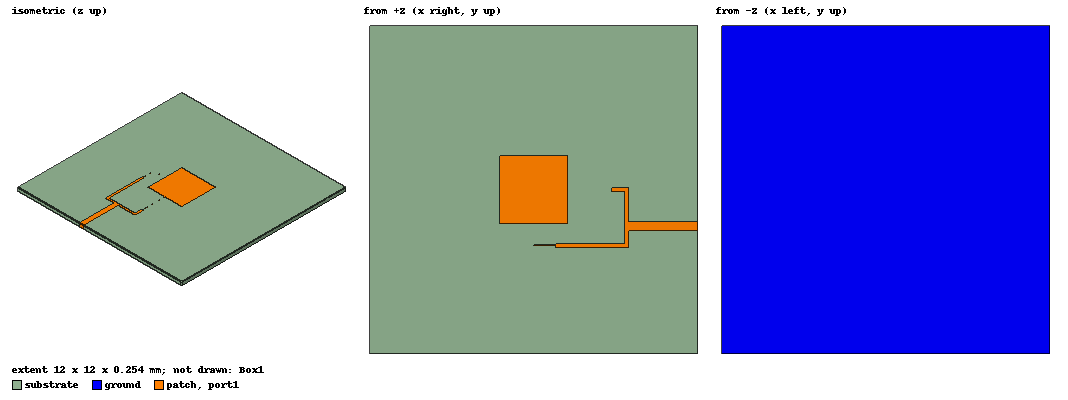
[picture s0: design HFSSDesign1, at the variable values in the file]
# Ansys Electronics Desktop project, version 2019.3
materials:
  vacuum: permittivity=1
  Rogers RO4003 (tm): permittivity=3.55 dielectric_loss_tangent=0.0027
  air: permittivity=1.0006 permeability=1.0000004
  copper: permeability=0.999991 conductivity=58000000
  Rogers RT/duroid 6010/6010LM (tm): permittivity=10.2 dielectric_loss_tangent=0.0023

design HFSSDesign1 (HFSS, DrivenModal, model units mm)
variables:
  ls = 12mm
  ws = 12mm
  hs = 0.254mm
  lp = 2.465mm
  wp = 2.465mm
  w1 = 0.0124mm
  w2 = 0.0124mm
  v = 0.81mm
  w3 = 0.143mm
  L = 0.63622765mm
  w4 = 0.316mm  # optimise 0.9mm..1.2mm
  Lbox = 14mm
  Wbpx = 14mm
  Hbox = 6mm
  Wbox = 14mm
  v1 = 0.81mm
  m = 0mm
  off = -0.1mm  # optimise -0.03mm..0mm
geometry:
  ground = rectangle(corner=(-ls/2, -ws/2, 0mm), x_size=ls, y_size=ws)
  substrate [Rogers RO4003 (tm)] = box(corner=(-ls/2, -ws/2, 0mm), size=(ls, ws, hs))
  patch = rectangle(corner=(-lp/2, -wp/2, hs), x_size=lp, y_size=wp)
  transformer1 = rectangle(corner=(lp/2, -w1/2, hs), x_size=2*v, y_size=w1)
  transformer21 = rectangle(corner=(-w2/2, -wp/2, hs), x_size=w2, y_size=-(v))
  transformer22 = rectangle(corner=(-w2/2, (-wp/2)-(v), hs), x_size=v1, y_size=w2)
  T1 = rectangle(corner=(lp/2+(2*v), -w3/2, hs), x_size=L, y_size=w3)
  T2 = rectangle(corner=(v1-(w2/2), (-wp/2)-(v)-(w3/2)+(w2/2), hs), x_size=(lp/2)+(2*v)+L-(v1-w2/2), y_size=w3)
  T3 = rectangle(corner=((lp/2)+(L)+(2*v), w3/2, hs), x_size=-w3, y_size=-((wp/2)+(v)+w3-(w2/2)))
  feed = rectangle(corner=((L+(2*v)+lp/2), -((wp/2)+(v/2)+(w4/2)-(v/2)+m)+off, hs), x_size=(ls/2)-(L+(2*v)+lp/2), y_size=w4)
  patch.unite(transformer1, transformer21, transformer22, T1, T2, T3, feed)
  Box1 [air] = box(corner=(-Lbox/2, -Wbox/2, -Hbox/2), size=(Lbox, Wbox, Hbox))
  port1 = rectangle(corner=(ls/2, -((wp/2)+(v/2)+(w4/2)-(v/2)+m)+off, hs), y_size=w4, z_size=-hs)
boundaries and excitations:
  PerfE1: Perfect E Objects=[patch, ground]
  Rad1: Radiation Objects=Box1
  1: Lumped Port Objects=port1 Modes{Mode1{IntLine{middle of port1.edge(z opposite corner) -> middle of port1.edge(z at corner)} CharImp=Zpi RenormImp=70ohm}} Impedance=70ohm
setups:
  Setup1: HfssDriven Frequency=30GHz MaxDeltaS=0.02 MaximumPasses=20 MinimumPasses=1 MinimumConvergedPasses=1 PercentRefinement=30 BasisOrder=1 PortAccuracy=2
    sweep Sweep: 20GHz to 40GHz, 401 points; Type=Fast SaveFields
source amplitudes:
  1:1: 1W 0deg
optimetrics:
  OptimizationSetup1: Optimization disabled Optimizer="Quasi Newton" AnalysisStopOptions{StopForNumIteration MaxNumIteration=100 MinNumIteration=10} CostFuncNormType=L2 Acceptable_Cost=0 Noise=0.0001 UpdateDesignWhenDone
    vary L: Min=0.352975mm Max=1.058925mm MinStep=0.001mm MaxStep=0.01mm MinFocus=0.352975mm MaxFocus=1.058925mm
    vary w3: Min=0.4mm Max=0.6mm MinStep=0.004mm MaxStep=0.0425mm MinFocus=0.4mm MaxFocus=0.6mm
    vary w4: Min=0.945mm Max=0.98mm MinStep=0.004mm MaxStep=0.1mm MinFocus=0.9mm MaxFocus=1.2mm start=0.955mm
    goal dB(AxialRatioValue) <= 3 weight 1 on Setup1 : LastAdaptive at Theta 0deg, Phi 0deg, Freq 30GHz
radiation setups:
  Infinite Sphere1: Infinite Sphere Theta=-180deg..180deg step 2deg Phi=0deg..360deg step 2deg
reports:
  S Parameter Plot 1: dB(S(1,1)) vs Freq on Setup1 : Sweep [lp=all]; markers m1 at 30GHz, m2 at 30.1GHz, m3 at 29.95GHz, MX1 at x=2.9605624e+10, MY1 at y=-15.8812, MY2 at y=-2.81385
  Gain Plot 1: dB(GainTotal) vs Theta on Setup1 : LastAdaptive, Infinite Sphere1 [Phi=0deg Freq=30GHz]
  Axial Ratio Plot 1: dB(AxialRatioValue) vs Theta on Setup1 : LastAdaptive, Infinite Sphere1 [Phi=0deg Freq=30GHz]; markers m1 at 0deg
  Antenna Params Plot 1: dBc(FrontToBackRatio) vs Freq on Setup1 : LastAdaptive; markers m1 at 30GHz
  Gain Plot 2: GainTotal vs Phi, Theta on Setup1 : LastAdaptive, Infinite Sphere1 [Freq=30GHz]
